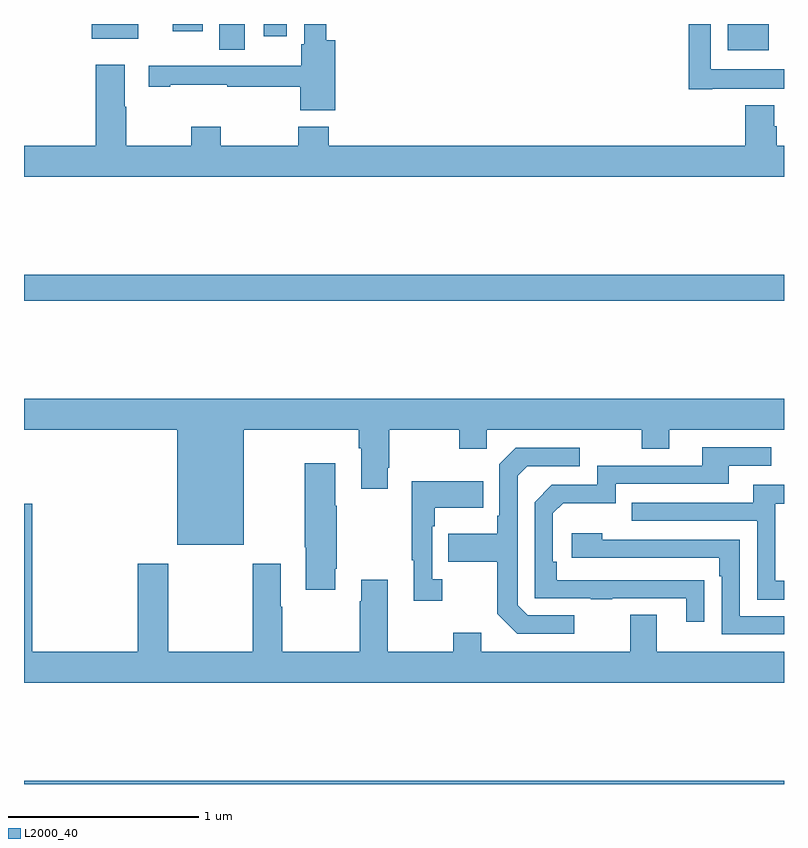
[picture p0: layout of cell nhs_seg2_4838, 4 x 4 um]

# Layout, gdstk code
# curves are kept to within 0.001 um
import gdstk
lib = gdstk.Library(unit=1e-6, precision=1e-09)
def R(c, l, rs):  # rectangles x0, y0, x1, y1
    for r in rs: c.add(gdstk.rectangle(r[:2], r[2:], *l))
def P(c, l, *ps):  # polygons
    for p in ps: c.add(gdstk.Polygon(p, *l))
L2000_40 = (2000, 40)

nhs_seg2_4838 = lib.new_cell('nhs_seg2_4838')
R(nhs_seg2_4838, L2000_40, [(375,617.8,379,617.816), (375,620.344,379,620.48), (378.704,621.662,378.919,621.8), (376.028,621.664,376.162,621.8), (375.356,621.722,375.601,621.8), (376.262,621.735,376.384,621.8), (375.782,621.762,375.94,621.8)])
P(nhs_seg2_4838, L2000_40, [(378.622,621.458),(379,621.458),(379,621.562),(378.615,621.562),(378.615,621.8),(378.499,621.8),(378.499,621.456),(378.622,621.456)],
  [(376.637,621.715),(376.592,621.715),(376.592,621.8),(376.476,621.8),(376.476,621.693),(376.459,621.693),(376.459,621.58),(376.266,621.58),(376.266,621.579),(375.932,621.579),(375.932,621.581),(375.657,621.581),(375.657,621.471),(375.769,621.471),(375.769,621.481),(376.07,621.481),(376.07,621.471),(376.454,621.471),(376.454,621.345),(376.637,621.345)],
  [(375.377,621.586),(375.377,621.16),(375,621.16),(375,620.996),(379,620.996),(379,621.16),(378.962,621.16),(378.962,621.261),(378.949,621.261),(378.949,621.373),(378.797,621.373),(378.797,621.16),(376.604,621.16),(376.604,621.259),(376.444,621.259),(376.444,621.16),(376.035,621.16),(376.035,621.259),(375.88,621.259),(375.88,621.16),(375.537,621.16),(375.537,621.365),(375.529,621.365),(375.529,621.586)],
  [(376.156,619.664),(376.763,619.664),(376.763,619.568),(376.775,619.568),(376.775,619.353),(376.915,619.353),(376.915,619.465),(376.923,619.465),(376.923,619.664),(377.29,619.664),(377.29,619.565),(377.436,619.565),(377.436,619.664),(378.25,619.664),(378.25,619.565),(378.397,619.565),(378.397,619.664),(379,619.664),(379,619.828),(375,619.828),(375,619.664),(375.806,619.664),(375.806,619.058),(376.156,619.058)],
  [(378.581,618.872),(377.804,618.873),(377.804,618.97),(377.784,618.97),(377.784,619.224),(377.837,619.277),(378.114,619.277),(378.114,619.38),(378.709,619.38),(378.709,619.476),(378.934,619.476),(378.934,619.572),(378.569,619.572),(378.569,619.476),(378.018,619.476),(378.018,619.374),(377.778,619.374),(377.688,619.284),(377.688,618.777),(377.983,618.777),(377.983,618.772),(378.095,618.772),(378.095,618.777),(378.485,618.777),(378.485,618.654),(378.581,618.654)],
  [(377.896,618.687),(377.652,618.687),(377.598,618.741),(377.598,619.422),(377.649,619.473),(377.926,619.473),(377.926,619.569),(377.589,619.569),(377.502,619.482),(377.502,619.213),(377.49,619.213),(377.49,619.117),(377.233,619.117),(377.233,618.97),(377.49,618.97),(377.49,618.697),(377.595,618.591),(377.896,618.591)],
  [(376.639,618.934),(376.647,618.934),(376.647,619.265),(376.639,619.265),(376.639,619.489),(376.477,619.489),(376.477,619.045),(376.484,619.045),(376.484,618.822),(376.639,618.822)],
  [(377.2,618.878),(377.148,618.878),(377.148,619.157),(377.161,619.157),(377.161,619.253),(377.417,619.253),(377.417,619.393),(377.04,619.393),(377.04,618.977),(377.051,618.977),(377.051,618.765),(377.2,618.765)],
  [(379,618.87),(378.954,618.87),(378.954,619.275),(379,619.275),(379,619.375),(378.839,619.375),(378.839,619.281),(378.199,619.281),(378.199,619.185),(378.858,619.185),(378.858,618.769),(379,618.769)],
  [(379,618.496),(378.331,618.496),(378.331,618.691),(378.191,618.691),(378.191,618.496),(377.407,618.496),(377.407,618.595),(377.26,618.595),(377.26,618.496),(376.915,618.496),(376.915,618.874),(376.775,618.874),(376.775,618.761),(376.768,618.761),(376.768,618.496),(376.359,618.496),(376.359,618.734),(376.351,618.734),(376.351,618.958),(376.204,618.958),(376.204,618.496),(375.759,618.496),(375.759,618.958),(375.599,618.958),(375.599,618.496),(375.044,618.496),(375.044,619.276),(375,619.276),(375,618.332),(379,618.332)],
  [(379,618.684),(378.768,618.684),(378.768,619.086),(378.044,619.086),(378.044,619.12),(377.883,619.12),(377.883,618.99),(378.659,618.99),(378.659,618.893),(378.672,618.893),(378.672,618.588),(379,618.588)])

lib.write_gds('nhs_seg2_4838.gds')
